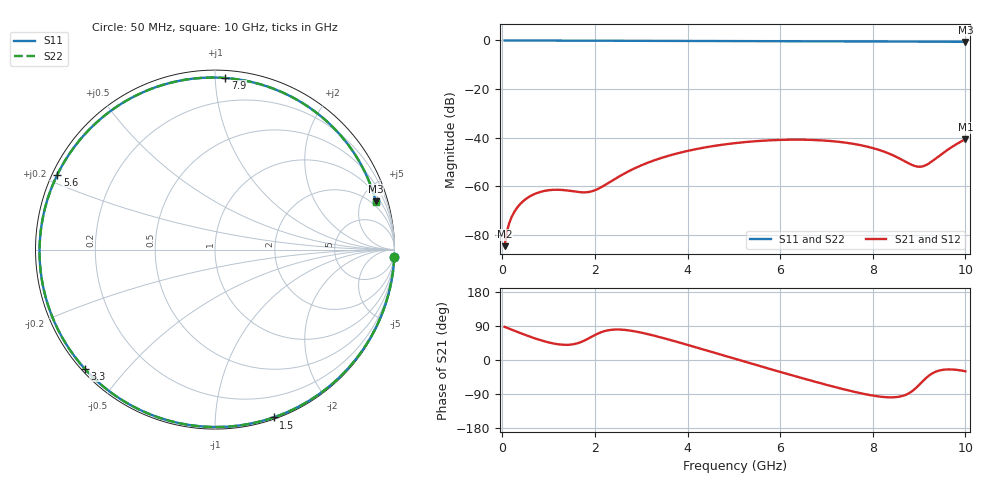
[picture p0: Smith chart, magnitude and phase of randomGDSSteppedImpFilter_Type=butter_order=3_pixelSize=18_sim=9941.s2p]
! freq	dB(S11)	phase(S11)	dB(S12)	phase(S12)
!  dB(S21)	phase(S21)	dB(S22)	phase(S22)
!S-par simulation data
#  GHz  S  DB  R 50
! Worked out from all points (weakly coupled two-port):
!   200 points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, 50 MHz to 10 GHz, reference 50 ohm
!   highest |S21| = -40.62 dB at 10 GHz (marker M1); lowest = -84.7 dB at 50 MHz (marker M2)
!   lowest |S11| = -0.6 dB at 10 GHz (marker M3), VSWR 30.05, Z = 74.9 + j323 ohm
!   |S11| at or under -10 dB: nowhere
!   |S22| runs from -0.6 to 0.0 dB; largest |S21 - S12| = 0
!   S11 on the Smith chart (normalised r, x): 50 MHz: 0, -46; 1.5 GHz: 0.01, -1.41; 3.3 GHz: 0.01, -0.39; 5.6 GHz: 0.01, +0.23; 7.9 GHz: 0.05, +1.06; 10 GHz: 1.50, +6.47
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0.05  -0.00 -2.5  -84.66 87.5  -84.66 87.5  -0.00 -2.5
0.1  -0.00 -5.0  -78.66 85.1  -78.66 85.1  -0.00 -5.0
0.15  -0.01 -7.5  -75.18 82.6  -75.18 82.6  -0.01 -7.5
0.25  -0.01 -12.4  -70.85 77.7  -70.85 77.7  -0.01 -12.5
0.55  -0.03 -27.1  -64.70 63.7  -64.70 63.7  -0.03 -27.1
0.95  -0.06 -46.2  -61.78 48.0  -61.78 48.0  -0.06 -46.2
1.5  -0.08 -70.8  -62.00 41.0  -62.00 41.0  -0.08 -70.8
1.75  -0.09 -81.3  -62.51 50.0  -62.51 50.0  -0.09 -81.3
2.05  -0.10 -93.3  -61.24 68.9  -61.24 68.9  -0.10 -93.4
2.45  -0.12 -108.5  -56.81 80.4  -56.81 80.4  -0.12 -108.5
3.3  -0.14 -137.6  -49.21 63.6  -49.21 63.6  -0.14 -137.6
3.4  -0.15 -140.8  -48.56 60.4  -48.56 60.4  -0.15 -140.9
4.2  -0.18 -165.3  -44.66 32.8  -44.66 32.8  -0.18 -165.3
5.05  -0.21 170.2  -42.20 2.3  -42.20 2.3  -0.21 170.1
5.6  -0.24 154.6  -41.29 -17.3  -41.29 -17.3  -0.24 154.5
6.7  -0.30 123.0  -40.95 -55.5  -40.95 -55.5  -0.30 122.9
7.3  -0.34 105.1  -41.79 -75.0  -41.79 -75.0  -0.34 105.0
7.9  -0.37 86.5  -43.79 -91.7  -43.79 -91.7  -0.38 86.5
8.35  -0.41 72.2  -46.55 -98.5  -46.55 -98.5  -0.41 72.1
8.85  -0.45 55.7  -51.25 -82.3  -51.25 -82.3  -0.45 55.6
9.05  -0.46 49.1  -51.91 -59.6  -51.91 -59.6  -0.46 48.9
10  -0.58 16.7  -40.62 -29.7  -40.62 -29.7  -0.58 16.6
